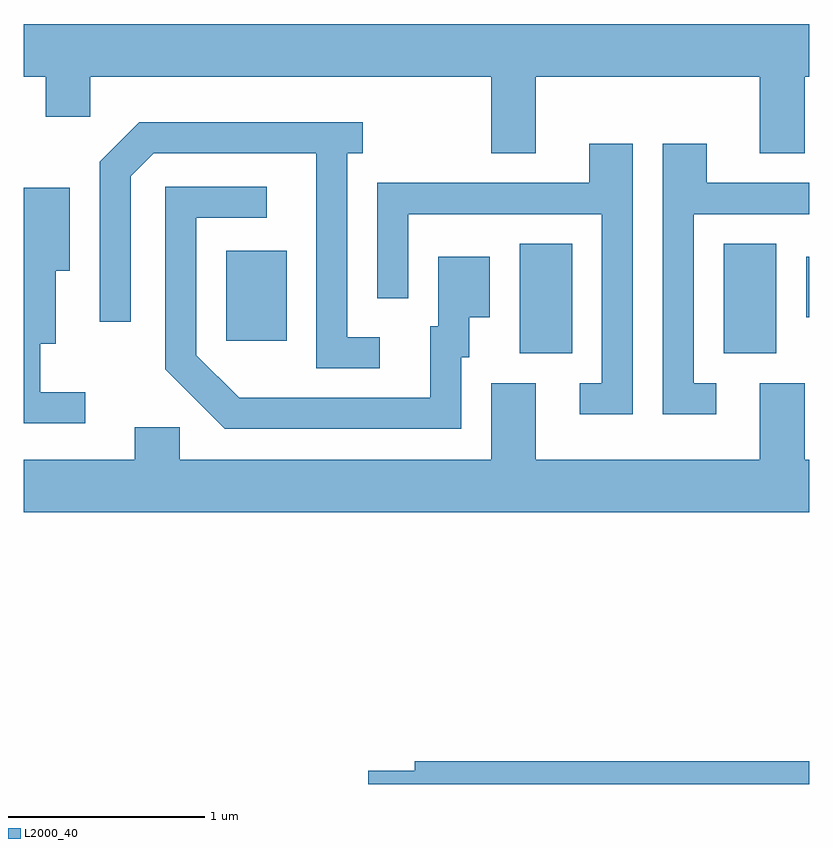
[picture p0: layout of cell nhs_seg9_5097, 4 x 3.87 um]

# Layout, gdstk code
import gdstk
lib = gdstk.Library(unit=1e-6, precision=1e-09)
def R(c, l, rs):  # rectangles x0, y0, x1, y1
    for r in rs: c.add(gdstk.rectangle(r[:2], r[2:], *l))
def P(c, l, *ps):  # polygons
    for p in ps: c.add(gdstk.Polygon(p, *l))
L2000_40 = (2000, 40)

nhs_seg9_5097 = lib.new_cell('nhs_seg9_5097')
R(nhs_seg9_5097, L2000_40, [(338.136,1992.626,338.404,1993.184), (339.176,1992.626,339.444,1993.184), (336.641,1992.691,336.949,1993.149), (339.596,1992.811,339.611,1993.119)])
P(nhs_seg9_5097, L2000_40, [(338.219,1994.036),(339.361,1994.036),(339.361,1993.646),(339.589,1993.646),(339.589,1994.036),(339.611,1994.036),(339.611,1994.304),(335.611,1994.304),(335.611,1994.036),(335.721,1994.036),(335.721,1993.831),(335.949,1993.831),(335.949,1994.036),(337.991,1994.036),(337.991,1993.646),(338.219,1993.646)],
  [(337.423,1992.709),(337.259,1992.709),(337.259,1993.646),(337.338,1993.646),(337.338,1993.804),(336.199,1993.804),(335.996,1993.602),(335.996,1992.788),(336.154,1992.788),(336.154,1993.529),(336.272,1993.646),(337.101,1993.646),(337.101,1992.551),(337.423,1992.551)],
  [(339.138,1992.474),(339.024,1992.474),(339.024,1993.336),(339.611,1993.336),(339.611,1993.494),(339.089,1993.494),(339.089,1993.694),(338.866,1993.694),(338.866,1992.316),(339.138,1992.316)],
  [(338.714,1993.694),(338.491,1993.694),(338.491,1993.494),(337.411,1993.494),(337.411,1992.908),(337.569,1992.908),(337.569,1993.336),(338.556,1993.336),(338.556,1992.474),(338.443,1992.474),(338.443,1992.316),(338.714,1992.316)],
  [(337.839,1992.606),(337.879,1992.606),(337.879,1992.811),(337.984,1992.811),(337.984,1993.119),(337.721,1993.119),(337.721,1992.764),(337.681,1992.764),(337.681,1992.399),(336.707,1992.399),(336.489,1992.617),(336.489,1993.316),(336.848,1993.316),(336.848,1993.474),(336.331,1993.474),(336.331,1992.544),(336.634,1992.241),(337.839,1992.241)],
  [(335.923,1992.429),(335.694,1992.429),(335.694,1992.676),(335.774,1992.676),(335.774,1993.046),(335.844,1993.046),(335.844,1993.469),(335.611,1993.469),(335.611,1992.271),(335.923,1992.271)],
  [(339.611,1992.084),(339.589,1992.084),(339.589,1992.474),(339.361,1992.474),(339.361,1992.084),(338.219,1992.084),(338.219,1992.474),(337.991,1992.474),(337.991,1992.084),(336.404,1992.084),(336.404,1992.249),(336.176,1992.249),(336.176,1992.084),(335.611,1992.084),(335.611,1991.816),(339.611,1991.816)],
  [(339.611,1990.549),(337.601,1990.549),(337.601,1990.499),(337.366,1990.499),(337.366,1990.432),(339.611,1990.432)])

lib.write_gds('nhs_seg9_5097.gds')
